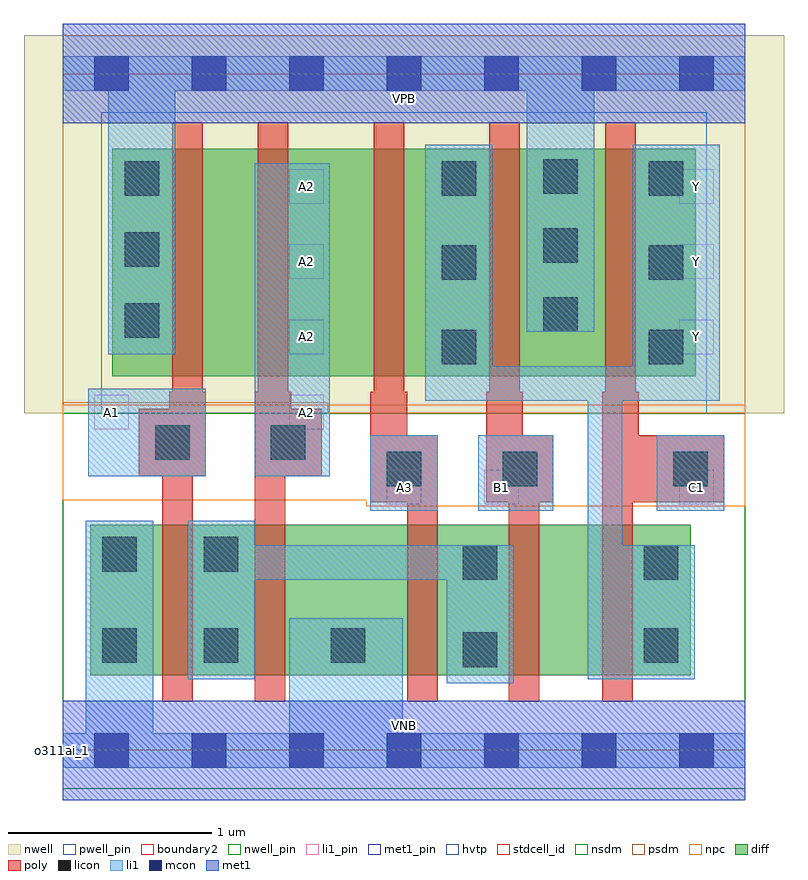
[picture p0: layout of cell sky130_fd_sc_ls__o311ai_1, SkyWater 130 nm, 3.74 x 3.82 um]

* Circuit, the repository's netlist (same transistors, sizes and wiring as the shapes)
* Copyright 2020 The SkyWater PDK Authors
*
* Licensed under the Apache License, Version 2.0 (the "License");
* you may not use this file except in compliance with the License.
* You may obtain a copy of the License at
*
*     https://www.apache.org/licenses/LICENSE-2.0
*
* Unless required by applicable law or agreed to in writing, software
* distributed under the License is distributed on an "AS IS" BASIS,
* WITHOUT WARRANTIES OR CONDITIONS OF ANY KIND, either express or implied.
* See the License for the specific language governing permissions and
* limitations under the License.
*
* SPDX-License-Identifier: Apache-2.0

.SUBCKT sky130_fd_sc_ls__o311ai_1 A1 A2 A3 B1 C1 VGND VNB VPB VPWR Y
*.PININFO A1:I A2:I A3:I B1:I C1:I VGND:I VNB:I VPB:I VPWR:I Y:O
MMPA0 VPWR A1 sndA1 VPB sky130_fd_pr__pfet_01v8_hvt m=1 w=1.12U l=0.15U mult=1
+ sa=0.265 sb=0.265 sd=0.28 area=0.063 perim=1.14
MMPA1 sndA1 A2 sndA2 VPB sky130_fd_pr__pfet_01v8_hvt m=1 w=1.12U l=0.15U mult=1
+ sa=0.265 sb=0.265 sd=0.28 area=0.063 perim=1.14
MMPA2 sndA2 A3 Y VPB sky130_fd_pr__pfet_01v8_hvt m=1 w=1.12U l=0.15U mult=1 sa=0.265
+ sb=0.265 sd=0.28 area=0.063 perim=1.14
MMPB0 VPWR B1 Y VPB sky130_fd_pr__pfet_01v8_hvt m=1 w=1.12U l=0.15U mult=1 sa=0.265
+ sb=0.265 sd=0.28 area=0.063 perim=1.14
MMPC0 VPWR C1 Y VPB sky130_fd_pr__pfet_01v8_hvt m=1 w=1.12U l=0.15U mult=1 sa=0.265
+ sb=0.265 sd=0.28 area=0.063 perim=1.14
MMNA0 pndA A1 VGND VNB sky130_fd_pr__nfet_01v8 m=1 w=0.74U l=0.15U mult=1 sa=0.265
+ sb=0.265 sd=0.28 area=0.063 perim=1.14
MMNA1 pndA A2 VGND VNB sky130_fd_pr__nfet_01v8 m=1 w=0.74U l=0.15U mult=1 sa=0.265
+ sb=0.265 sd=0.28 area=0.063 perim=1.14
MMNA2 pndA A3 VGND VNB sky130_fd_pr__nfet_01v8 m=1 w=0.74U l=0.15U mult=1 sa=0.265
+ sb=0.265 sd=0.28 area=0.063 perim=1.14
MMNB0 pndB B1 pndA VNB sky130_fd_pr__nfet_01v8 m=1 w=0.74U l=0.15U mult=1 sa=0.265
+ sb=0.265 sd=0.28 area=0.063 perim=1.14
MMNC0 Y C1 pndB VNB sky130_fd_pr__nfet_01v8 m=1 w=0.74U l=0.15U mult=1 sa=0.265
+ sb=0.265 sd=0.28 area=0.063 perim=1.14
.ENDS sky130_fd_sc_ls__o311ai_1

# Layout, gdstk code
import gdstk
lib = gdstk.Library(unit=1e-6, precision=1e-09)
def R(c, l, rs):  # rectangles x0, y0, x1, y1
    for r in rs: c.add(gdstk.rectangle(r[:2], r[2:], *l))
def A(c, l, x, y, w, h, nx, ny, dx, dy):  # array of equal rectangles
    R(c, l, [(x+i*dx, y+j*dy, x+i*dx+w, y+j*dy+h) for i in range(nx) for j in range(ny)])
def P(c, l, *ps):  # polygons
    for p in ps: c.add(gdstk.Polygon(p, *l))
nwell_pin = (64, 16)
nwell = (64, 20)
diff = (65, 20)
poly = (66, 20)
licon = (66, 44)
li1_pin = (67, 16)
li1 = (67, 20)
mcon = (67, 44)
met1_pin = (68, 16)
met1 = (68, 20)
hvtp = (78, 44)
stdcell_id = (81, 4)
nsdm = (93, 44)
psdm = (94, 20)
npc = (95, 20)
pwell_pin = (122, 16)
boundary2 = (236, 0)

sky130_fd_sc_ls__o311ai_ = lib.new_cell('sky130_fd_sc_ls__o311ai_1')
R(sky130_fd_sc_ls__o311ai_, nwell_pin, [(0,3.085,3.36,3.33)])
R(sky130_fd_sc_ls__o311ai_, nwell, [(-0.19,1.66,3.55,3.52)])
R(sky130_fd_sc_ls__o311ai_, diff, [(0.135,0.37,3.09,1.11), (0.245,1.84,3.115,2.96)])
P(sky130_fd_sc_ls__o311ai_, poly, [(0.705,1.765),(0.69,1.765),(0.69,3.09),(0.54,3.09),(0.54,1.765),(0.525,1.765),(0.525,1.68),(0.375,1.68),(0.375,1.35),(0.49,1.35),(0.49,0.24),(0.64,0.24),(0.64,1.35),(0.705,1.35)],
  [(1.275,1.68),(1.125,1.68),(1.125,1.765),(1.11,1.765),(1.11,3.09),(0.96,3.09),(0.96,1.765),(0.945,1.765),(0.945,0.24),(1.095,0.24),(1.095,1.35),(1.275,1.35)],
  [(1.845,1.55),(1.695,1.55),(1.695,1.765),(1.68,1.765),(1.68,3.09),(1.53,3.09),(1.53,1.765),(1.515,1.765),(1.515,1.22),(1.695,1.22),(1.695,0.24),(1.845,0.24)],
  [(2.415,1.55),(2.265,1.55),(2.265,1.765),(2.25,1.765),(2.25,3.09),(2.1,3.09),(2.1,1.765),(2.085,1.765),(2.085,1.22),(2.195,1.22),(2.195,0.24),(2.345,0.24),(2.345,1.22),(2.415,1.22)],
  [(3.255,1.55),(2.835,1.55),(2.835,1.765),(2.82,1.765),(2.82,3.09),(2.67,3.09),(2.67,1.765),(2.655,1.765),(2.655,0.24),(2.805,0.24),(2.805,1.22),(3.255,1.22)])
A(sky130_fd_sc_ls__o311ai_, licon, 1.865, 1.9, 0.17, 0.17, 1, 3, 0, 0.415)
A(sky130_fd_sc_ls__o311ai_, licon, 2.885, 1.9, 0.17, 0.17, 1, 3, 0, 0.415)
A(sky130_fd_sc_ls__o311ai_, licon, 0.305, 2.03, 0.17, 0.17, 1, 3, 0, 0.35)
A(sky130_fd_sc_ls__o311ai_, licon, 2.365, 2.06, 0.17, 0.17, 1, 3, 0, 0.34)
R(sky130_fd_sc_ls__o311ai_, licon, [(1.97,0.41,2.14,0.58), (0.195,0.43,0.365,0.6), (0.695,0.43,0.865,0.6), (1.32,0.43,1.49,0.6), (2.86,0.43,3.03,0.6), (1.97,0.84,2.14,1.01), (2.86,0.84,3.03,1.01), (0.195,0.88,0.365,1.05), (0.695,0.88,0.865,1.05), (1.595,1.3,1.765,1.47), (2.165,1.3,2.335,1.47), (3.005,1.3,3.175,1.47), (0.455,1.43,0.625,1.6), (1.025,1.43,1.195,1.6)])
A(sky130_fd_sc_ls__o311ai_, li1_pin, 1.115, 1.58, 0.17, 0.17, 1, 4, 0, 0.37)
A(sky130_fd_sc_ls__o311ai_, li1_pin, 3.035, 1.95, 0.17, 0.17, 1, 3, 0, 0.37)
R(sky130_fd_sc_ls__o311ai_, li1_pin, [(1.595,1.21,1.765,1.38), (2.075,1.21,2.245,1.38), (3.035,1.21,3.205,1.38), (0.155,1.58,0.325,1.75)])
R(sky130_fd_sc_ls__o311ai_, li1, [(1.515,1.18,1.845,1.55), (2.045,1.18,2.415,1.55), (2.925,1.18,3.255,1.55), (0.125,1.35,0.705,1.78), (0.945,1.35,1.315,2.89)])
P(sky130_fd_sc_ls__o311ai_, li1, [(0,-0.085),(0,0.085),(0.115,0.085),(0.115,1.13),(0.445,1.13),(0.445,0.085),(1.115,0.085),(1.115,0.65),(1.675,0.65),(1.675,0.085),(3.36,0.085),(3.36,-0.085)],
  [(0,3.245),(0,3.415),(3.36,3.415),(3.36,3.245),(2.615,3.245),(2.615,2.06),(2.285,2.06),(2.285,3.245),(0.555,3.245),(0.555,1.95),(0.225,1.95),(0.225,3.245)],
  [(2.805,1.89),(2.805,2.98),(3.235,2.98),(3.235,1.72),(2.755,1.72),(2.755,1.01),(3.11,1.01),(3.11,0.35),(2.585,0.35),(2.585,1.72),(1.785,1.72),(1.785,2.98),(2.115,2.98),(2.115,1.89)],
  [(0.945,1.01),(2.22,1.01),(2.22,0.33),(1.89,0.33),(1.89,0.84),(0.945,0.84),(0.945,0.35),(0.615,0.35),(0.615,1.13),(0.945,1.13)])
A(sky130_fd_sc_ls__o311ai_, mcon, 0.155, -0.085, 0.17, 0.17, 7, 2, 0.48, 3.33)
R(sky130_fd_sc_ls__o311ai_, met1_pin, [(0,0,3.36,0.245), (0,3.085,3.36,3.33)])
R(sky130_fd_sc_ls__o311ai_, met1, [(0,-0.245,3.36,0.245), (0,3.085,3.36,3.575)])
R(sky130_fd_sc_ls__o311ai_, hvtp, [(0.19,1.66,3.17,3.14)])
R(sky130_fd_sc_ls__o311ai_, stdcell_id, [(0,0,3.36,3.33)])
R(sky130_fd_sc_ls__o311ai_, nsdm, [(0,-0.19,3.36,1.66)])
P(sky130_fd_sc_ls__o311ai_, psdm, [(3.36,3.52),(0,3.52),(0,1.71),(1.305,1.71),(1.305,1.66),(3.36,1.66)])
P(sky130_fd_sc_ls__o311ai_, npc, [(3.36,1.7),(0,1.7),(0,1.23),(1.495,1.23),(1.495,1.2),(3.36,1.2)])
R(sky130_fd_sc_ls__o311ai_, pwell_pin, [(0,0,3.36,0.245)])
R(sky130_fd_sc_ls__o311ai_, boundary2, [(0,0,3.36,3.33)])
sky130_fd_sc_ls__o311ai_.add(gdstk.Label('o311ai_1', (0,0), layer=83, texttype=44))
sky130_fd_sc_ls__o311ai_.add(gdstk.Label('VNB', (1.68,0.123), layer=64, texttype=59))
sky130_fd_sc_ls__o311ai_.add(gdstk.Label('VPB', (1.68,3.208), layer=64, texttype=5))
sky130_fd_sc_ls__o311ai_.add(gdstk.Label('VPWR', (1.68,3.208), layer=68, texttype=5))
sky130_fd_sc_ls__o311ai_.add(gdstk.Label('VGND', (1.68,0.123), layer=68, texttype=5))
sky130_fd_sc_ls__o311ai_.add(gdstk.Label('A2', (1.2,1.665), layer=67, texttype=5))
sky130_fd_sc_ls__o311ai_.add(gdstk.Label('A2', (1.2,2.035), layer=67, texttype=5))
sky130_fd_sc_ls__o311ai_.add(gdstk.Label('A2', (1.2,2.405), layer=67, texttype=5))
sky130_fd_sc_ls__o311ai_.add(gdstk.Label('A2', (1.2,2.775), layer=67, texttype=5))
sky130_fd_sc_ls__o311ai_.add(gdstk.Label('A1', (0.24,1.665), layer=67, texttype=5))
sky130_fd_sc_ls__o311ai_.add(gdstk.Label('C1', (3.12,1.295), layer=67, texttype=5))
sky130_fd_sc_ls__o311ai_.add(gdstk.Label('B1', (2.16,1.295), layer=67, texttype=5))
sky130_fd_sc_ls__o311ai_.add(gdstk.Label('Y', (3.12,2.035), layer=67, texttype=5))
sky130_fd_sc_ls__o311ai_.add(gdstk.Label('Y', (3.12,2.405), layer=67, texttype=5))
sky130_fd_sc_ls__o311ai_.add(gdstk.Label('Y', (3.12,2.775), layer=67, texttype=5))
sky130_fd_sc_ls__o311ai_.add(gdstk.Label('A3', (1.68,1.295), layer=67, texttype=5))

lib.write_gds('sky130_fd_sc_ls__o311ai_1.gds')
